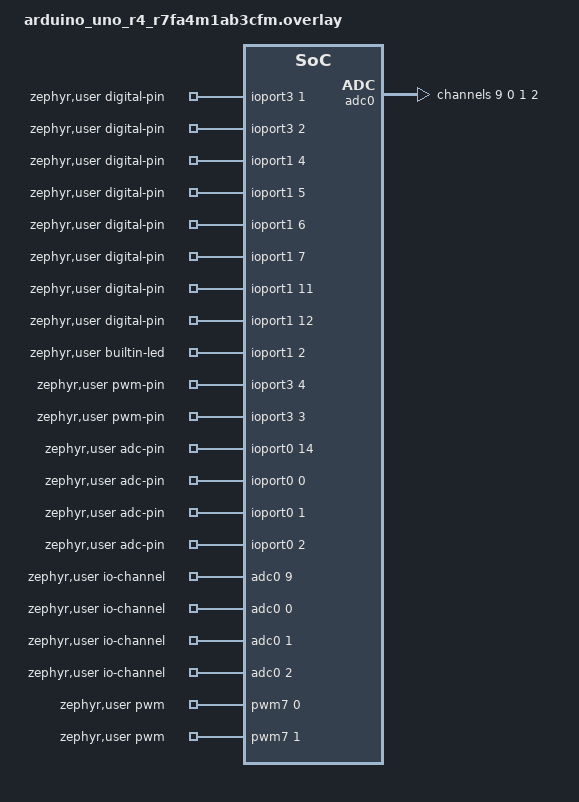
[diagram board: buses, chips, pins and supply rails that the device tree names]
/*
 * Copyright (c) Arduino s.r.l. and/or its affiliated companies
 *
 * SPDX-License-Identifier: Apache-2.0
 */

#include <zephyr/dt-bindings/pwm/pwm.h>

/* RA4M1 has 256 KB flash. Split as:
 *   0x00000 - 0x04000 (16 KB)   bootloader
 *   0x04000 - 0x22000 (120 KB)  loader (image-0)
 *   0x22000 - 0x40000 (120 KB)  user_sketch
 */
&flash0 {
	/delete-node/ partitions;

	partitions {
		compatible = "fixed-partitions";
		#address-cells = <1>;
		#size-cells = <1>;

		boot_partition: partition@0 {
			label = "bootloader";
			reg = <0x00000000 DT_SIZE_K(16)>;
			read-only;
		};

		code_partition: partition@4000 {
			label = "image-0";
			reg = <0x00004000 DT_SIZE_K(120)>;
		};

		user_sketch: partition@22000 {
			label = "user_sketch";
			reg = <0x00022000 DT_SIZE_K(120)>;
		};
	};
};

&adc0 {
	#address-cells = <1>;
	#size-cells = <0>;

	a0: channel@9 {
		reg = <9>;
		zephyr,gain = "ADC_GAIN_1";
		zephyr,reference = "ADC_REF_INTERNAL";
		zephyr,acquisition-time = <ADC_ACQ_TIME_DEFAULT>;
		zephyr,resolution = <14>;
	};

	a1: channel@0 {
		reg = <0>;
		zephyr,gain = "ADC_GAIN_1";
		zephyr,reference = "ADC_REF_INTERNAL";
		zephyr,acquisition-time = <ADC_ACQ_TIME_DEFAULT>;
		zephyr,resolution = <14>;
	};

	a2: channel@1 {
		reg = <1>;
		zephyr,gain = "ADC_GAIN_1";
		zephyr,reference = "ADC_REF_INTERNAL";
		zephyr,acquisition-time = <ADC_ACQ_TIME_DEFAULT>;
		zephyr,resolution = <14>;
	};

	a3: channel@2 {
		reg = <2>;
		zephyr,gain = "ADC_GAIN_1";
		zephyr,reference = "ADC_REF_INTERNAL";
		zephyr,acquisition-time = <ADC_ACQ_TIME_DEFAULT>;
		zephyr,resolution = <14>;
	};
};

/ {
	zephyr,user {
		/* D0..D15 then A0..A5 (header order). */
		digital-pin-gpios = <&ioport3 1 GPIO_ACTIVE_HIGH>,	/* D0  RXD (P301) */
				    <&ioport3 2 GPIO_ACTIVE_HIGH>,	/* D1  TXD (P302) */
				    <&ioport1 4 GPIO_ACTIVE_HIGH>,	/* D2  (P104)     */
				    <&ioport1 5 GPIO_ACTIVE_HIGH>,	/* D3  (P105)     */
				    <&ioport1 6 GPIO_ACTIVE_HIGH>,	/* D4  (P106)     */
				    <&ioport1 7 GPIO_ACTIVE_HIGH>,	/* D5  (P107)     */
				    <&ioport1 11 GPIO_ACTIVE_HIGH>,	/* D6  (P111)     */
				    <&ioport1 12 GPIO_ACTIVE_HIGH>,	/* D7  (P112)     */
				    <&ioport3 4 GPIO_ACTIVE_HIGH>,	/* D8  (P304)     */
				    <&ioport3 3 GPIO_ACTIVE_HIGH>,	/* D9  (P303)     */
				    <&ioport1 3 GPIO_ACTIVE_HIGH>,	/* D10 (P103) CS  */
				    <&ioport4 11 GPIO_ACTIVE_HIGH>,	/* D11 (P411) MOSI*/
				    <&ioport4 10 GPIO_ACTIVE_HIGH>,	/* D12 (P410) MISO*/
				    <&ioport1 2 GPIO_ACTIVE_HIGH>,	/* D13 (P102) SCK */
				    <&ioport1 1 GPIO_ACTIVE_HIGH>,	/* D14 (P101) SDA */
				    <&ioport1 0 GPIO_ACTIVE_HIGH>,	/* D15 (P100) SCL */

				    <&ioport0 14 GPIO_ACTIVE_HIGH>,	/* A0  (P014) */
				    <&ioport0 0 GPIO_ACTIVE_HIGH>,	/* A1  (P000) */
				    <&ioport0 1 GPIO_ACTIVE_HIGH>,	/* A2  (P001) */
				    <&ioport0 2 GPIO_ACTIVE_HIGH>,	/* A3  (P002) */
				    <&ioport1 1 GPIO_ACTIVE_HIGH>,	/* A4  (P101) */
				    <&ioport1 0 GPIO_ACTIVE_HIGH>;	/* A5  (P100) */

		builtin-led-gpios = <&ioport1 2 GPIO_ACTIVE_HIGH>;	/* D13 LED */

		pwm-pin-gpios = <&ioport3 4 0>,				/* D8 GPT7_A */
				<&ioport3 3 0>;				/* D9 GPT7_B */

		serials = <&uart2>;					/* Serial1 = D0/D1 (UART to ESP32-S3) */
		i2cs = <&iic1>;						/* Wire = A4/A5 */
		spis = <&spi0>;						/* SPI = D11/D12/D13 */

		pwms = <&pwm7 0 PWM_HZ(490) PWM_POLARITY_NORMAL>,
		       <&pwm7 1 PWM_HZ(490) PWM_POLARITY_NORMAL>;

		io-channels = <&adc0 9>,
			      <&adc0 0>,
			      <&adc0 1>,
			      <&adc0 2>;

		adc-pin-gpios = <&ioport0 14 0>,			/* A0 */
				<&ioport0 0 0>,				/* A1 */
				<&ioport0 1 0>,				/* A2 */
				<&ioport0 2 0>;				/* A3 */
	};
};
